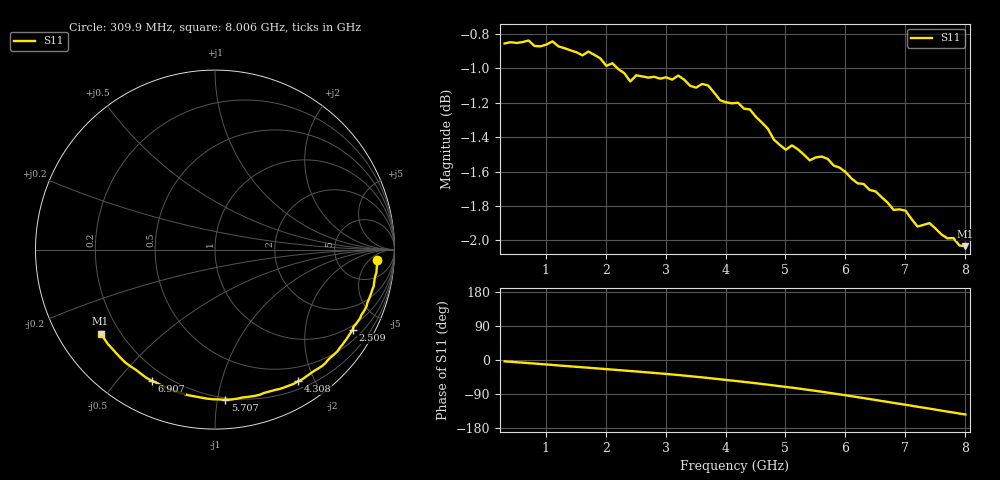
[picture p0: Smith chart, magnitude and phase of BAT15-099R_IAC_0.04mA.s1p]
! Infineon Technologies  Discrete & RF Semiconductors
! BAT15-099R
! IAC = 0.04 mA
! One-Port S-Parameters
# Hz  S  MA  R  50
!f  S11
!Hz  Mag  Ang
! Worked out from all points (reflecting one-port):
!   78 points, 309.9 MHz to 8.006 GHz, reference 50 ohm
!   lowest |S11| = -2.0 dB at 8.006 GHz (marker M1), VSWR 8.58, Z = 6.44 - j16.1 ohm
!   phase of S11 starts at -4 deg and turns -140 deg over the sweep
!   S11 on the Smith chart (normalised r, x): 309.9 MHz: 15, -9; 2.509 GHz: 0.84, -3.52; 4.308 GHz: 0.30, -1.78; 5.707 GHz: 0.19, -1.05; 6.907 GHz: 0.15, -0.62; 8.006 GHz: 0.13, -0.32
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3.0985e8  0.9062 -3.5
7.0965e8  0.908 -8.2
1.10945e9  0.9075 -13.0
1.30935e9  0.9033 -15.5
1.70915e9  0.9013 -20.3
2.009e9  0.8927 -24.1
2.10895e9  0.8943 -25.2
2.30885e9  0.8884 -27.8
2.4088e9  0.8835 -29.1
2.50875e9  0.8871 -30.2
3.2084e9  0.887 -39.6
3.70815e9  0.8811 -47.5
4.2079e9  0.871 -56.0
4.30785e9  0.8675 -57.7
4.4078e9  0.8671 -59.5
4.70765e9  0.8559 -65.1
5.2074e9  0.8443 -75.0
5.70715e9  0.8389 -86.1
5.90705e9  0.8339 -90.8
6.10695e9  0.8278 -95.6
6.30685e9  0.8249 -100.5
6.50675e9  0.8208 -105.5
6.90655e9  0.811 -115.6
7.10645e9  0.8058 -120.7
7.4063e9  0.8036 -128.3
7.6062e9  0.7975 -133.6
7.8061e9  0.7956 -138.6
8.006e9  0.7913 -143.7
